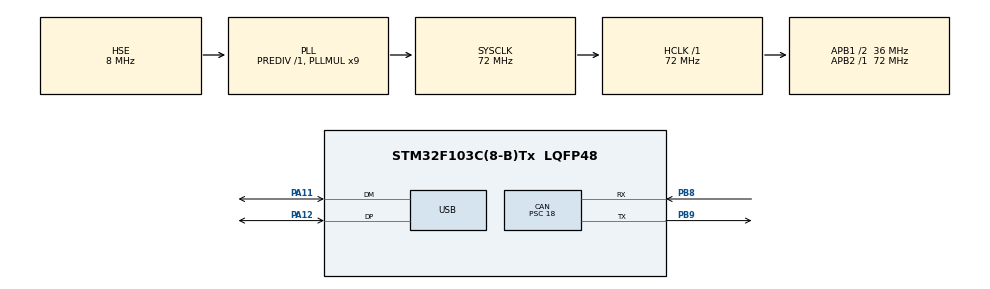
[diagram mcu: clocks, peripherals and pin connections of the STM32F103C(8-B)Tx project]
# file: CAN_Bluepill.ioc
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CAN.BS1=CAN_BS1_2TQ
CAN.CalculateBaudRate=500000
CAN.CalculateTimeBit=2000
CAN.CalculateTimeQuantum=500.0
CAN.Prescaler=18
Mcu.Family=STM32F1
Mcu.Name=STM32F103C(8-B)Tx
Mcu.Package=LQFP48
NVIC.CAN1_RX1_IRQn=true\:0\:0\:false\:false\:true\:true\:true\:true
NVIC.PriorityGroup=NVIC_PRIORITYGROUP_4
NVIC.USB_LP_CAN1_RX0_IRQn=true\:0\:0\:false\:false\:true\:false\:true\:true
PA11.Mode=Device
PA11.Signal=USB_DM
PA12.Mode=Device
PA12.Signal=USB_DP
PA13.Mode=Serial_Wire
PA13.Signal=SYS_JTMS-SWDIO
PA14.Mode=Serial_Wire
PA14.Signal=SYS_JTCK-SWCLK
PB8.Mode=CAN_Activate
PB8.Signal=CAN_RX
PB9.Mode=CAN_Activate
PB9.Signal=CAN_TX
PD0-OSC_IN.Mode=HSE-External-Oscillator
PD0-OSC_IN.Signal=RCC_OSC_IN
PD1-OSC_OUT.Mode=HSE-External-Oscillator
PD1-OSC_OUT.Signal=RCC_OSC_OUT
ProjectManager.HeapSize=0x200
ProjectManager.StackSize=0x400
ProjectManager.TargetToolchain=STM32CubeIDE
RCC.AHBFreq_Value=72000000
RCC.APB1CLKDivider=RCC_HCLK_DIV2
RCC.APB1Freq_Value=36000000
RCC.APB1TimFreq_Value=72000000
RCC.APB2Freq_Value=72000000
RCC.APB2TimFreq_Value=72000000
RCC.HCLKFreq_Value=72000000
RCC.PLLMUL=RCC_PLL_MUL9
RCC.PLLSourceVirtual=RCC_PLLSOURCE_HSE
RCC.SYSCLKFreq_VALUE=72000000
RCC.SYSCLKSource=RCC_SYSCLKSOURCE_PLLCLK
RCC.USBFreq_Value=48000000
RCC.USBPrescaler=RCC_USBCLKSOURCE_PLL_DIV1_5
USB_DEVICE.CLASS_NAME_FS=CDC
USB_DEVICE.PRODUCT_STRING_CDC_FS=STM32 Virtual Port
USB_DEVICE.VirtualMode=Cdc
USB_DEVICE.VirtualModeFS=Cdc_FS
VP_USB_DEVICE_VS_USB_DEVICE_CDC_FS.Mode=CDC_FS
board=custom

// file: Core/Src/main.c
/* USER CODE BEGIN Header */
/**
  ******************************************************************************
  * @file           : main.c
  * @brief          : Main program body
  ******************************************************************************
  * @attention
  *
  * Copyright (c) 2025 STMicroelectronics.
  * All rights reserved.
  *
  * This software is licensed under terms that can be found in the LICENSE file
  * in the root directory of this software component.
  * If no LICENSE file comes with this software, it is provided AS-IS.
  *
  ******************************************************************************
  */
/* USER CODE END Header */
#include "main.h"
#include "usb_device.h"

/* USER CODE BEGIN Includes */
#include "string.h"
#include "usbd_cdc_if.h"
/* USER CODE END Includes */

CAN_HandleTypeDef hcan;

void SystemClock_Config(void);
static void MX_GPIO_Init(void);
static void MX_CAN_Init(void);

/* USER CODE BEGIN 0 */
CAN_TxHeaderTypeDef TxHeader;
CAN_RxHeaderTypeDef RxHeader;

char TxData[8];
uint8_t RxData[8];
uint8_t k=0;
char *cdcdata = "Manasftw\n";
uint8_t buffer[64];

char datatobesent[1024]="NeverGonnaMakeYouCryNeverGonnaSayGoodByeNeverGonnaTellALieAndHurtYou";

uint32_t TxMailbox;
//char receiveddata[1024];
int datacheck = 0;

void HAL_CAN_RxFifo1MsgPendingCallback(CAN_HandleTypeDef *hcan)
{
	HAL_CAN_GetRxMessage(hcan, CAN_RX_FIFO1, &RxHeader, RxData);
}
/* USER CODE END 0 */

int main(void)
{

  /* MCU Configuration--------------------------------------------------------*/

  /* Reset of all peripherals, Initializes the Flash interface and the Systick. */
  HAL_Init();

  /* Configure the system clock */
  SystemClock_Config();

  /* Initialize all configured peripherals */
  MX_GPIO_Init();
  MX_CAN_Init();
  MX_USB_DEVICE_Init();
  /* USER CODE BEGIN 2 */

  HAL_CAN_Start(&hcan);
  HAL_CAN_ActivateNotification(&hcan, CAN_IT_RX_FIFO1_MSG_PENDING);

  TxHeader.DLC = 8;
  TxHeader.IDE = CAN_ID_STD;
  TxHeader.RTR = CAN_RTR_DATA;
  TxHeader.StdId  = 0x123;

  /* USER CODE END 2 */

  /* Infinite loop */
  /* USER CODE BEGIN WHILE */
  while (1)
  {
	  CDC_Transmit_FS((uint8_t *)cdcdata, strlen(cdcdata));

//	  for(int i =0;i<8;i++){
//	  	  TxData[i]=datatobesent[k];
//	  		  k=(k+1)%(strlen(datatobesent));
//	  }
//	HAL_CAN_AddTxMessage(&hcan, &TxHeader, TxData, &TxMailbox);
	HAL_Delay(3000);
    /* USER CODE END WHILE */

  }
}

void SystemClock_Config(void)
{
  RCC_OscInitTypeDef RCC_OscInitStruct = {0};
  RCC_ClkInitTypeDef RCC_ClkInitStruct = {0};
  RCC_PeriphCLKInitTypeDef PeriphClkInit = {0};

  /** Initializes the RCC Oscillators according to the specified parameters
  * in the RCC_OscInitTypeDef structure.
  */
  RCC_OscInitStruct.OscillatorType = RCC_OSCILLATORTYPE_HSE;
  RCC_OscInitStruct.HSEState = RCC_HSE_ON;
  RCC_OscInitStruct.HSEPredivValue = RCC_HSE_PREDIV_DIV1;
  RCC_OscInitStruct.HSIState = RCC_HSI_ON;
  RCC_OscInitStruct.PLL.PLLState = RCC_PLL_ON;
  RCC_OscInitStruct.PLL.PLLSource = RCC_PLLSOURCE_HSE;
  RCC_OscInitStruct.PLL.PLLMUL = RCC_PLL_MUL9;
  if (HAL_RCC_OscConfig(&RCC_OscInitStruct) != HAL_OK)
  {
    Error_Handler();
  }

  /** Initializes the CPU, AHB and APB buses clocks
  */
  RCC_ClkInitStruct.ClockType = RCC_CLOCKTYPE_HCLK|RCC_CLOCKTYPE_SYSCLK
                              |RCC_CLOCKTYPE_PCLK1|RCC_CLOCKTYPE_PCLK2;
  RCC_ClkInitStruct.SYSCLKSource = RCC_SYSCLKSOURCE_PLLCLK;
  RCC_ClkInitStruct.AHBCLKDivider = RCC_SYSCLK_DIV1;
  RCC_ClkInitStruct.APB1CLKDivider = RCC_HCLK_DIV2;
  RCC_ClkInitStruct.APB2CLKDivider = RCC_HCLK_DIV1;

  if (HAL_RCC_ClockConfig(&RCC_ClkInitStruct, FLASH_LATENCY_2) != HAL_OK)
  {
    Error_Handler();
  }
  PeriphClkInit.PeriphClockSelection = RCC_PERIPHCLK_USB;
  PeriphClkInit.UsbClockSelection = RCC_USBCLKSOURCE_PLL_DIV1_5;
  if (HAL_RCCEx_PeriphCLKConfig(&PeriphClkInit) != HAL_OK)
  {
    Error_Handler();
  }
}

static void MX_CAN_Init(void)
{

  hcan.Instance = CAN1;
  hcan.Init.Prescaler = 18;
  hcan.Init.Mode = CAN_MODE_NORMAL;
  hcan.Init.SyncJumpWidth = CAN_SJW_1TQ;
  hcan.Init.TimeSeg1 = CAN_BS1_2TQ;
  hcan.Init.TimeSeg2 = CAN_BS2_1TQ;
  hcan.Init.TimeTriggeredMode = DISABLE;
  hcan.Init.AutoBusOff = DISABLE;
  hcan.Init.AutoWakeUp = DISABLE;
  hcan.Init.AutoRetransmission = DISABLE;
  hcan.Init.ReceiveFifoLocked = DISABLE;
  hcan.Init.TransmitFifoPriority = DISABLE;
  if (HAL_CAN_Init(&hcan) != HAL_OK)
  {
    Error_Handler();
  }
  /* USER CODE BEGIN CAN_Init 2 */

  CAN_FilterTypeDef canfilterconfig;

  canfilterconfig.FilterActivation = CAN_FILTER_ENABLE;
  canfilterconfig.FilterBank= 10;
  canfilterconfig.FilterFIFOAssignment=CAN_FILTER_FIFO1;
  canfilterconfig.FilterIdHigh= 0x123<<5;
  canfilterconfig.FilterIdLow=0;
  canfilterconfig.FilterMaskIdHigh=0x123<<5;
  canfilterconfig.FilterMaskIdLow=0x0000;
  canfilterconfig.FilterMode= CAN_FILTERMODE_IDMASK;
  canfilterconfig.FilterScale=CAN_FILTERSCALE_32BIT;
  canfilterconfig.SlaveStartFilterBank=0;

  HAL_CAN_ConfigFilter(&hcan, &canfilterconfig);

  /* USER CODE END CAN_Init 2 */

}

static void MX_GPIO_Init(void)
{

  /* GPIO Ports Clock Enable */
  __HAL_RCC_GPIOD_CLK_ENABLE();
  __HAL_RCC_GPIOA_CLK_ENABLE();
  __HAL_RCC_GPIOB_CLK_ENABLE();

}

void Error_Handler(void)
{
  __disable_irq();
  while (1)
  {
  }
}
